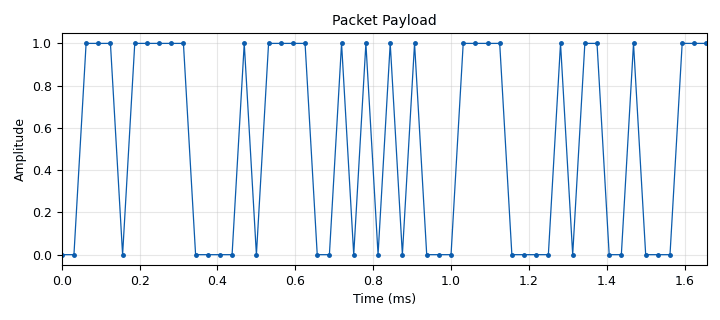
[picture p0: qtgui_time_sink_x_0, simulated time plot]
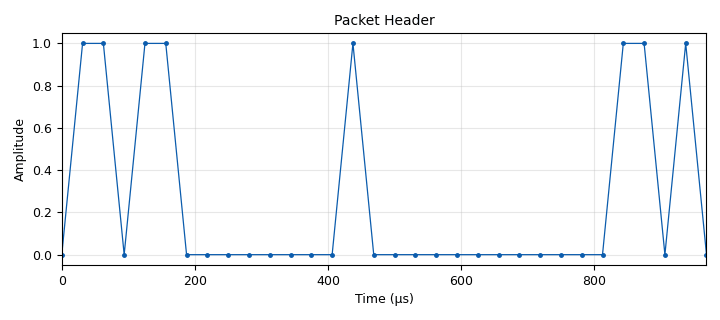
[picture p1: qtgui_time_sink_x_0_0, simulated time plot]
options:
  parameters:
    author: Solomon
    category: Custom
    description: Simple example to learn how to use protocol formatter, protocol parser and header/payload demux.
    generate_options: qt_gui
    id: formatter_crc_header_payload_demux
    output_language: python
    title: Generate and parse CRC header
  states: {}

blocks:
- name: hdr_format
  id: variable
  parameters:
    value: digital.header_format_crc(len_key, num_key)
  states: {}
- name: hdr_format_bb
  id: variable
  parameters:
    comment: |-
      Need another for this path
      as the formatters keep state.
    value: digital.header_format_crc(len_key, num_key)
  states: {}
- name: len_key
  id: variable
  parameters:
    value: '"packet_len"'
  states: {}
- name: num_key
  id: variable
  parameters:
    value: '"packet_num"'
  states: {}
- name: samp_rate
  id: variable
  parameters:
    value: 32e3
  states: {}
- name: blocks_message_debug_0
  id: blocks_message_debug
  parameters: {}
  states: {state: disabled}
- name: blocks_message_debug_0_0
  id: blocks_message_debug
  parameters: {}
  states: {state: disabled}
- name: blocks_message_debug_1
  id: blocks_message_debug
  parameters: {}
  states: {}
- name: blocks_message_strobe_0
  id: blocks_message_strobe
  parameters:
    msg: pmt.PMT_T
    period: '2000'
  states: {}
- name: blocks_repack_bits_bb_0
  id: blocks_repack_bits_bb
  parameters:
    endianness: gr.GR_LSB_FIRST
    k: '8'
    l: '1'
    len_tag_key: len_key
  states: {}
- name: blocks_repack_bits_bb_1
  id: blocks_repack_bits_bb
  parameters:
    endianness: gr.GR_LSB_FIRST
    k: '1'
    l: '8'
    len_tag_key: '"packet_len"'
  states: {}
- name: blocks_tag_debug_0
  id: blocks_tag_debug
  parameters:
    type: byte
  states: {state: disabled}
- name: blocks_tagged_stream_mux_0
  id: blocks_tagged_stream_mux
  parameters:
    lengthtagname: packet_len
    ninputs: '2'
    type: byte
  states: {}
- name: blocks_uchar_to_float_0
  id: blocks_uchar_to_float
  parameters: {}
  states: {}
- name: blocks_uchar_to_float_1
  id: blocks_uchar_to_float
  parameters: {}
  states: {}
- name: digital_crc32_async_bb_1
  id: digital_crc32_async_bb
  parameters:
    check: 'False'
  states: {}
- name: digital_header_payload_demux_0
  id: digital_header_payload_demux
  parameters:
    header_len: '32'
    header_padding: '0'
    items_per_symbol: '1'
    length_tag_key: '"packet_len"'
    output_symbols: 'False'
    samp_rate: int(samp_rate)
    special_tags: ()
    timing_tag_key: ''
    trigger_tag_key: '"packet_len"'
    type: byte
  states: {}
- name: digital_protocol_formatter_async_0
  id: digital_protocol_formatter_async
  parameters:
    format: hdr_format
  states: {}
- name: digital_protocol_parser_b_0
  id: digital_protocol_parser_b
  parameters:
    format: hdr_format
  states: {}
- name: pdu_pdu_to_tagged_stream_0
  id: pdu_pdu_to_tagged_stream
  parameters:
    tag: len_key
    type: byte
  states: {}
- name: pdu_pdu_to_tagged_stream_2
  id: pdu_pdu_to_tagged_stream
  parameters:
    tag: packet_len
    type: byte
  states: {}
- name: pdu_random_pdu_0
  id: pdu_random_pdu
  parameters:
    length_modulo: '1'
    mask: '0xff'
    maxsize: '50'
    minsize: '50'
  states: {}
- name: pdu_tagged_stream_to_pdu_0
  id: pdu_tagged_stream_to_pdu
  parameters:
    tag: packet_len
    type: byte
  states: {}
- name: qtgui_time_sink_x_0
  id: qtgui_time_sink_x
  parameters:
    autoscale: 'True'
    marker1: '2'
    name: '"Packet Payload"'
    size: '54'
    srate: samp_rate
    tr_mode: qtgui.TRIG_MODE_TAG
    tr_tag: '"packet_len"'
    type: float
  states: {}
- name: qtgui_time_sink_x_0_0
  id: qtgui_time_sink_x
  parameters:
    autoscale: 'True'
    marker1: '2'
    name: '"Packet Header"'
    size: '32'
    srate: samp_rate
    type: float
  states: {}
- name: virtual_sink_0
  id: virtual_sink
  parameters:
    stream_id: original_payload
  states: {}
- name: virtual_sink_1
  id: virtual_sink
  parameters:
    stream_id: compl_data_pkt
  states: {}
- name: virtual_source_0
  id: virtual_source
  parameters:
    stream_id: original_payload
  states: {}
- name: virtual_source_1
  id: virtual_source
  parameters:
    stream_id: compl_data_pkt
  states: {}

connections:
- [blocks_message_strobe_0, strobe, pdu_random_pdu_0, generate]
- [blocks_repack_bits_bb_0, '0', virtual_sink_1, '0']
- [blocks_repack_bits_bb_1, '0', pdu_tagged_stream_to_pdu_0, '0']
- [blocks_tagged_stream_mux_0, '0', blocks_repack_bits_bb_0, '0']
- [blocks_uchar_to_float_0, '0', qtgui_time_sink_x_0_0, '0']
- [blocks_uchar_to_float_1, '0', qtgui_time_sink_x_0, '0']
- [digital_crc32_async_bb_1, out, digital_protocol_formatter_async_0, in]
- [digital_crc32_async_bb_1, out, virtual_sink_0, '0']
- [digital_header_payload_demux_0, '0', blocks_uchar_to_float_0, '0']
- [digital_header_payload_demux_0, '0', digital_protocol_parser_b_0, '0']
- [digital_header_payload_demux_0, '1', blocks_repack_bits_bb_1, '0']
- [digital_header_payload_demux_0, '1', blocks_tag_debug_0, '0']
- [digital_header_payload_demux_0, '1', blocks_uchar_to_float_1, '0']
- [digital_protocol_formatter_async_0, header, blocks_message_debug_0, print]
- [digital_protocol_formatter_async_0, header, pdu_pdu_to_tagged_stream_0, pdus]
- [digital_protocol_formatter_async_0, payload, pdu_pdu_to_tagged_stream_2, pdus]
- [digital_protocol_parser_b_0, info, blocks_message_debug_0_0, print]
- [digital_protocol_parser_b_0, info, digital_header_payload_demux_0, header_data]
- [pdu_pdu_to_tagged_stream_0, '0', blocks_tagged_stream_mux_0, '0']
- [pdu_pdu_to_tagged_stream_2, '0', blocks_tagged_stream_mux_0, '1']
- [pdu_random_pdu_0, pdus, digital_crc32_async_bb_1, in]
- [pdu_tagged_stream_to_pdu_0, pdus, blocks_message_debug_1, print]
- [virtual_source_0, '0', blocks_message_debug_1, print]
- [virtual_source_1, '0', digital_header_payload_demux_0, '0']

metadata:
  file_format: 1
  grc_version: 3.10.7.0
